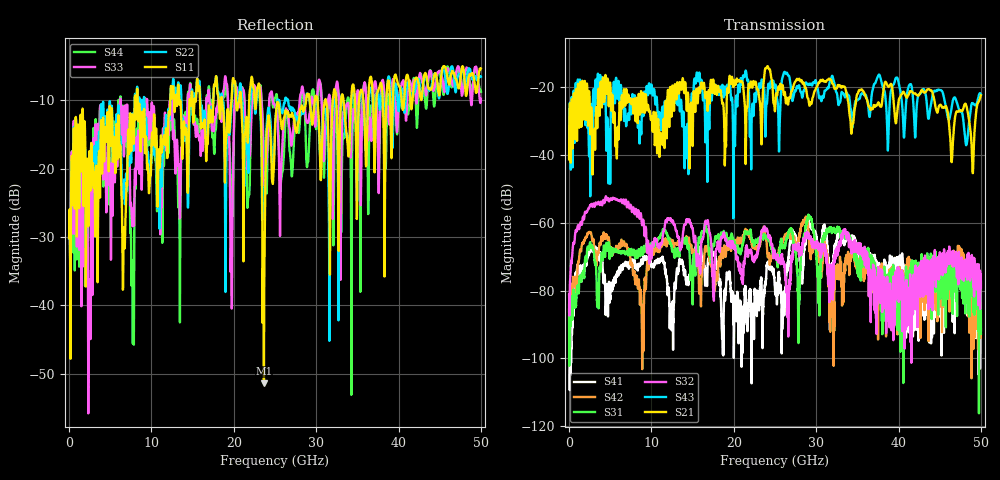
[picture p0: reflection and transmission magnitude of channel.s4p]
!Agilent Technologies,N5247A,US51170199,A.09.90.13
!Agilent N5247A: A.09.90.13
!Date: Tuesday, December 08, 2015 12:36:31
!Correction: S11(Full 4 Port(1,2,3,4))
!S12(Full 4 Port(1,2,3,4))
!S13(Full 4 Port(1,2,3,4))
!S14(Full 4 Port(1,2,3,4))
!S21(Full 4 Port(1,2,3,4))
!S22(Full 4 Port(1,2,3,4))
!S23(Full 4 Port(1,2,3,4))
!S24(Full 4 Port(1,2,3,4))
!S31(Full 4 Port(1,2,3,4))
!S32(Full 4 Port(1,2,3,4))
!S33(Full 4 Port(1,2,3,4))
!S34(Full 4 Port(1,2,3,4))
!S41(Full 4 Port(1,2,3,4))
!S42(Full 4 Port(1,2,3,4))
!S43(Full 4 Port(1,2,3,4))
!S44(Full 4 Port(1,2,3,4))
!S4P File: Measurements: <S11,S12,S13,S14>,
!<S21,S22,S23,S24>,
!<S31,S32,S33,S34>,
!<S41,S42,S43,S44>:
# Hz S  dB  R 50
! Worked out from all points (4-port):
!   3201 points, 10 MHz to 50 GHz, reference 50 ohm
!   strongest paths, dB at 10 MHz, 12.51 GHz, 25 GHz, 37.5 GHz, 50 GHz:
!     S21: -41.3, -21.6, -27.1, -24.7, -22.5
!     S43: -40.8, -22.7, -19.7, -16.9, -22.1
!     S32: -81.2, -59.5, -69.0, -79.8, -79.0
!     S31: -86.3, -68.0, -69.9, -73.2, -92.7
!     S42: -84.2, -66.5, -69.8, -82.4, -77.3
!     S41: -85.6, -84.0, -79.8, -73.2, -91.7
!   lowest |S11| = -51.4 dB at 23.66 GHz (marker M1), VSWR 1.01, Z = 50.2 - j0.123 ohm
!   |S11| at or under -10 dB: start of sweep to 7.975 GHz; 8.34 GHz to 12.29 GHz (3.948 GHz wide, 38.3 % of centre); 23.21 GHz to 28.79 GHz (5.583 GHz wide, 21.5 % of centre)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
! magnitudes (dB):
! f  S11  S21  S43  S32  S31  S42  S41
! 10 MHz  -30.2  -41.3  -40.8  -81.2  -86.3  -84.2  -85.6
! 4.603 GHz  -13.3  -19.8  -29.7  -53.3  -67.1  -64.0  -78.1
! 22.19 GHz  -6.6  -19.9  -27.5  -69.5  -65.1  -66.6  -92.4
! 23.66 GHz  -51.4  -17.8  -20.3  -61.3  -63.4  -61.2  -81.4
! 29.11 GHz  -9.2  -24.6  -19.1  -64.7  -57.7  -64.7  -59.6
! 30.32 GHz  -12.7  -18.6  -22.7  -67.8  -83.7  -69.2  -68.2
! 50 GHz  -5.4  -22.5  -22.1  -79.0  -92.7  -77.3  -91.7
